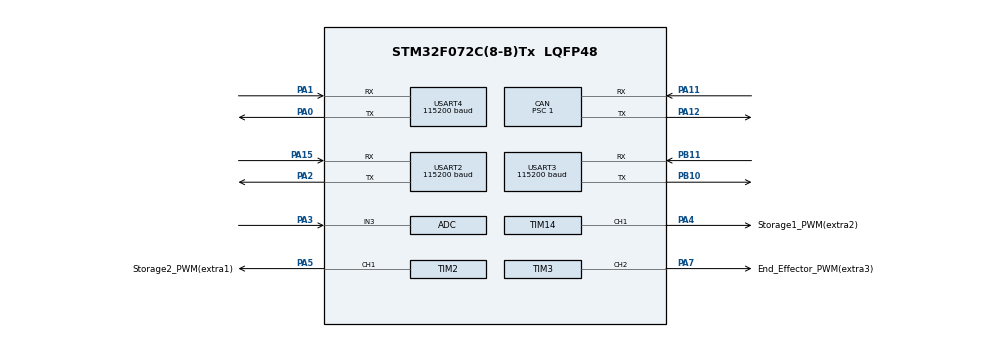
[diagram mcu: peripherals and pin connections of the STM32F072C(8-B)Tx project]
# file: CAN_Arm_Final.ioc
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CAN.BS1=CAN_BS1_13TQ
CAN.BS2=CAN_BS2_2TQ
CAN.CalculateBaudRate=500000
CAN.CalculateTimeBit=2000
CAN.CalculateTimeQuantum=125.0
CAN.Prescaler=1
Dma.Request0=USART3_TX
Dma.Request1=USART3_RX
Dma.Request2=USART2_RX
Dma.Request3=USART2_TX
Dma.Request4=USART4_RX
Dma.Request5=USART4_TX
Dma.USART2_RX.2.Direction=DMA_PERIPH_TO_MEMORY
Dma.USART2_RX.2.Instance=DMA1_Channel5
Dma.USART2_RX.2.MemDataAlignment=DMA_MDATAALIGN_BYTE
Dma.USART2_RX.2.MemInc=DMA_MINC_ENABLE
Dma.USART2_RX.2.Mode=DMA_NORMAL
Dma.USART2_RX.2.PeriphDataAlignment=DMA_PDATAALIGN_BYTE
Dma.USART2_RX.2.PeriphInc=DMA_PINC_DISABLE
Dma.USART2_RX.2.Priority=DMA_PRIORITY_LOW
Dma.USART2_TX.3.Direction=DMA_MEMORY_TO_PERIPH
Dma.USART2_TX.3.Instance=DMA1_Channel4
Dma.USART2_TX.3.MemDataAlignment=DMA_MDATAALIGN_BYTE
Dma.USART2_TX.3.MemInc=DMA_MINC_ENABLE
Dma.USART2_TX.3.Mode=DMA_NORMAL
Dma.USART2_TX.3.PeriphDataAlignment=DMA_PDATAALIGN_BYTE
Dma.USART2_TX.3.PeriphInc=DMA_PINC_DISABLE
Dma.USART2_TX.3.Priority=DMA_PRIORITY_LOW
Dma.USART3_RX.1.Direction=DMA_PERIPH_TO_MEMORY
Dma.USART3_RX.1.Instance=DMA1_Channel3
Dma.USART3_RX.1.MemDataAlignment=DMA_MDATAALIGN_BYTE
Dma.USART3_RX.1.MemInc=DMA_MINC_ENABLE
Dma.USART3_RX.1.Mode=DMA_NORMAL
Dma.USART3_RX.1.PeriphDataAlignment=DMA_PDATAALIGN_BYTE
Dma.USART3_RX.1.PeriphInc=DMA_PINC_DISABLE
Dma.USART3_RX.1.Priority=DMA_PRIORITY_LOW
Dma.USART3_TX.0.Direction=DMA_MEMORY_TO_PERIPH
Dma.USART3_TX.0.Instance=DMA1_Channel2
Dma.USART3_TX.0.MemDataAlignment=DMA_MDATAALIGN_BYTE
Dma.USART3_TX.0.MemInc=DMA_MINC_ENABLE
Dma.USART3_TX.0.Mode=DMA_NORMAL
Dma.USART3_TX.0.PeriphDataAlignment=DMA_PDATAALIGN_BYTE
Dma.USART3_TX.0.PeriphInc=DMA_PINC_DISABLE
Dma.USART3_TX.0.Priority=DMA_PRIORITY_LOW
Dma.USART4_RX.4.Direction=DMA_PERIPH_TO_MEMORY
Dma.USART4_RX.4.Instance=DMA1_Channel6
Dma.USART4_RX.4.MemDataAlignment=DMA_MDATAALIGN_BYTE
Dma.USART4_RX.4.MemInc=DMA_MINC_ENABLE
Dma.USART4_RX.4.Mode=DMA_NORMAL
Dma.USART4_RX.4.PeriphDataAlignment=DMA_PDATAALIGN_BYTE
Dma.USART4_RX.4.PeriphInc=DMA_PINC_DISABLE
Dma.USART4_RX.4.Priority=DMA_PRIORITY_LOW
Dma.USART4_TX.5.Direction=DMA_MEMORY_TO_PERIPH
Dma.USART4_TX.5.Instance=DMA1_Channel7
Dma.USART4_TX.5.MemDataAlignment=DMA_MDATAALIGN_BYTE
Dma.USART4_TX.5.MemInc=DMA_MINC_ENABLE
Dma.USART4_TX.5.Mode=DMA_NORMAL
Dma.USART4_TX.5.PeriphDataAlignment=DMA_PDATAALIGN_BYTE
Dma.USART4_TX.5.PeriphInc=DMA_PINC_DISABLE
Dma.USART4_TX.5.Priority=DMA_PRIORITY_LOW
Mcu.Family=STM32F0
Mcu.Name=STM32F072C(8-B)Tx
Mcu.Package=LQFP48
NVIC.CEC_CAN_IRQn=true\:0\:0\:false\:false\:true\:true\:true\:true
NVIC.DMA1_Channel2_3_IRQn=true\:0\:0\:false\:false\:true\:false\:true\:true
NVIC.DMA1_Channel4_5_6_7_IRQn=true\:0\:0\:false\:false\:true\:false\:true\:true
NVIC.USART2_IRQn=true\:0\:0\:false\:false\:true\:true\:true\:true
NVIC.USART3_4_IRQn=true\:0\:0\:false\:false\:true\:true\:true\:true
PA0.Mode=Asynchronous
PA0.Signal=USART4_TX
PA1.Mode=Asynchronous
PA1.Signal=USART4_RX
PA11.Mode=CAN_Activate
PA11.Signal=CAN_RX
PA12.Mode=CAN_Activate
PA12.Signal=CAN_TX
PA13.Mode=Serial_Wire
PA13.Signal=SYS_SWDIO
PA14.Mode=Serial_Wire
PA14.Signal=SYS_SWCLK
PA15.Mode=Asynchronous
PA15.Signal=USART2_RX
PA2.Mode=Asynchronous
PA2.Signal=USART2_TX
PA3.Mode=IN3
PA3.Signal=ADC_IN3
PA4.GPIO_Label=Storage1_PWM(extra2)
PA4.Signal=S_TIM14_CH1
PA5.GPIO_Label=Storage2_PWM(extra1)
PA5.Signal=S_TIM2_CH1_ETR
PA7.GPIO_Label=End_Effector_PWM(extra3)
PA7.Signal=S_TIM3_CH2
PB10.Mode=Asynchronous
PB10.Signal=USART3_TX
PB11.Mode=Asynchronous
PB11.Signal=USART3_RX
PF0-OSC_IN.Mode=HSE-External-Oscillator
PF0-OSC_IN.Signal=RCC_OSC_IN
PF1-OSC_OUT.Mode=HSE-External-Oscillator
PF1-OSC_OUT.Signal=RCC_OSC_OUT
ProjectManager.HeapSize=0x200
ProjectManager.StackSize=0x400
ProjectManager.TargetToolchain=STM32CubeIDE
SH.S_TIM14_CH1.0=TIM14_CH1,PWM Generation1 CH1
SH.S_TIM2_CH1_ETR.0=TIM2_CH1,PWM Generation1 CH1
SH.S_TIM3_CH2.0=TIM3_CH2,PWM Generation2 CH2
TIM14.Channel=TIM_CHANNEL_1
TIM14.Period=19999
TIM14.Prescaler=1
TIM2.Channel-PWM\ Generation1\ CH1=TIM_CHANNEL_1
TIM2.Period=19999
TIM2.Prescaler=1
TIM3.Channel-PWM\ Generation2\ CH2=TIM_CHANNEL_2
TIM3.Period=19999
TIM3.Prescaler=7
USART2.BaudRate=115200
USART2.VirtualMode-Asynchronous=VM_ASYNC
USART3.BaudRate=115200
USART3.VirtualMode-Asynchronous=VM_ASYNC
USART4.BaudRate=115200
USART4.VirtualMode-Asynchronous=VM_ASYNC
VP_TIM14_VS_ClockSourceINT.Mode=Enable_Timer
board=custom

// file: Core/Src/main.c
/* USER CODE BEGIN Header */
/**
 ******************************************************************************
 * @file           : main.c
 * @brief          : Main program body
 ******************************************************************************
 * @attention
 *
 * Copyright (c) 2025 STMicroelectronics.
 * All rights reserved.
 *
 * This software is licensed under terms that can be found in the LICENSE file
 * in the root directory of this software component.
 * If no LICENSE file comes with this software, it is provided AS-IS.
 *
 ******************************************************************************
 */
/* USER CODE END Header */
#include "main.h"

/* USER CODE BEGIN Includes */
#include "../../roboclaw/roboclaw.h"
//#include "../../pH/pH.h"
#include "string.h"
#include <stdbool.h>
#include <stdio.h>
#include <stdlib.h>
#include <math.h>
/* USER CODE END Includes */

/* USER CODE BEGIN PTD */
volatile uint8_t messageReceived = 0;
CAN_RxHeaderTypeDef rxHeader;
uint8_t rxData[8]={0};
uint32_t lastSendTime = 0;
SERIAL_HandleTypeDef *hserial_uart1;
SERIAL_HandleTypeDef *hserial_uart2;
SERIAL_HandleTypeDef *hserial_uart3;
RoboClaw_HandleTypeDef hroboclaw_mc1;
RoboClaw_HandleTypeDef hroboclaw_mc2;
RoboClaw_HandleTypeDef hroboclaw_mc3;
/* USER CODE END PTD */

/* USER CODE BEGIN PD */
//#define gear_ratio 188 // change value
//#define pulses_per_revolution_gearbox 28 // change value
//#define reduction_ratio 188 // change value
//#define pi 3.14159265358979
#define end_eff_PWM   TIM_CHANNEL_2 //Extra 3
#define end_eff_Tim   &htim3

#define Storage1_PWM  TIM_CHANNEL_1 //Extra 1
#define Storage1_Tim  &htim14

#define Storage2_PWM  TIM_CHANNEL_1 //Extra 2
#define Storage2_Tim  &htim2

#define STORAGE_OPEN_ANGLE 	90 // adjust with Alaa
#define STORAGE_CLOSED_ANGLE 0

#define angles_id 				0x004
#define CAN_ID_ENCODER_FEEDBACK 0x222

#define M1 1	// will be used later in GoToAngle() function
#define M2 2

#define JOINT2 1
#define JOINT5 2
#define NORMAL 3
// Each motor's timer + channel
typedef struct {
	TIM_HandleTypeDef *htim;
	uint32_t channel;
} MotorConfig;

/* USER CODE END PD */

ADC_HandleTypeDef hadc;

CAN_HandleTypeDef hcan;

TIM_HandleTypeDef htim2;
TIM_HandleTypeDef htim3;
TIM_HandleTypeDef htim14;

UART_HandleTypeDef huart2;
UART_HandleTypeDef huart3;
UART_HandleTypeDef huart4;
DMA_HandleTypeDef hdma_usart2_rx;
DMA_HandleTypeDef hdma_usart2_tx;
DMA_HandleTypeDef hdma_usart3_tx;
DMA_HandleTypeDef hdma_usart3_rx;
DMA_HandleTypeDef hdma_usart4_rx;
DMA_HandleTypeDef hdma_usart4_tx;

/* USER CODE BEGIN PV */

/********** Values for SpeedAccelDeccelPositionM() function ************/
/* you can modify accel deccel and speed as you want to reach the most suitable values
 * check with علاء if the speed of the motor while rotating is cool or not either slowing it down or make it faster
 */
uint32_t accel = 1000;
uint32_t speed = 2000;
uint32_t deccel = 1000;
uint8_t flag = 0;
int anglee[1] = {0};

/************************************************************************/

const int32_t GoBilda_PPR = 5290; //PPR
const int32_t JOINT5_PPR = 7160; //PPR adjust for joint 5
const int32_t GEAR_RATIO = 4;
const int32_t max_angle = 210; // adjust with mechanical team
int32_t JOINT1_PPR = (GoBilda_PPR * GEAR_RATIO)*(max_angle/360); // map from 0 to 210 //ppr = 12931

/************************************************************************/
int32_t encoderM1; //global variable stores encoder ticks while debugging
int32_t encoderM2; //global variable stores encoder ticks while debugging
/************************************************************************/
uint8_t uart_enc_data[8] = { 0 };
uint64_t packed = 0; 	// a variable to store the 64 bit received by CAN
uint16_t joint[6] = { 0 }; // contains 6 angles received in each 10 bits from 0 to 1023
float angle_deg[6] = { 0 };	// contains actual angles in degrees after mapping to 0 to 360 degree
uint8_t storage1 = 0, storage2 = 0; //for servo 1 and servo 2

MotorConfig servos[3] = { { end_eff_Tim, end_eff_PWM }, { Storage1_Tim,
Storage1_PWM }, { Storage2_Tim, Storage2_PWM } };

volatile bool g_limitSwitchPressed = false; // A global flag to disable the interrupt after triggered first time

/* USER CODE END PV */

void SystemClock_Config(void);
static void MX_GPIO_Init(void);
static void MX_DMA_Init(void);
static void MX_CAN_Init(void);
static void MX_USART2_UART_Init(void);
static void MX_USART3_UART_Init(void);
static void MX_TIM3_Init(void);
static void MX_TIM2_Init(void);
static void MX_TIM14_Init(void);
static void MX_ADC_Init(void);
static void MX_USART4_UART_Init(void);
/* USER CODE BEGIN PFP */
void can_irq(CAN_HandleTypeDef *pcan);

HAL_StatusTypeDef can_send(uint32_t id, uint8_t data[], uint8_t length);

void GoToAngle(float angle, RoboClaw_HandleTypeDef *hroboClaw, uint8_t MOTOR,
		uint8_t MODE);

void processArmControlData(uint8_t *data); //main control function

void setServoAngle(TIM_HandleTypeDef *htim, uint32_t channel, uint16_t angle);

uint16_t angleToPulseValue(uint16_t angle);

void SendEncoderFeedback(uint8_t *data); //TO DO

/* USER CODE END PFP */

/* USER CODE BEGIN 0 */
void can_irq(CAN_HandleTypeDef *pcan) {
	/* Simply receive whatever message comes in */
	if (HAL_CAN_GetRxMessage(pcan, CAN_RX_FIFO0, &rxHeader, rxData) == HAL_OK) {
		messageReceived = 1;
		// Check if the message is for Arm Control
//		if (rxHeader.StdId == angles_id) {
//			messageReceived = 1;
//		}
	}
}

HAL_StatusTypeDef can_send(uint32_t id, uint8_t data[], uint8_t length) {
	CAN_TxHeaderTypeDef txHeader;
	uint32_t mailbox;

	/* Configure TX header */
	txHeader.StdId = id;
	txHeader.IDE = CAN_ID_STD;
	txHeader.RTR = CAN_RTR_DATA;
	txHeader.DLC = length;
	txHeader.TransmitGlobalTime = DISABLE;

	/* Check if mailbox is available and send */
	if (HAL_CAN_GetTxMailboxesFreeLevel(&hcan) > 0) {
		return HAL_CAN_AddTxMessage(&hcan, &txHeader, data, &mailbox);
	}
	return HAL_BUSY;
}

void GoToAngle(float angle, RoboClaw_HandleTypeDef *hroboClaw, uint8_t MOTOR,
		uint8_t MODE) {
	uint8_t status;
	bool valid;
	int64_t no_of_ticks = 0;
	// different PPR case motors -> joint 2 and joint 5
	switch(MODE){

	case JOINT2 :
		no_of_ticks = (angle / 360) * JOINT1_PPR; //map the angle (0->360) to ticks (0->7000)

	break;
	case JOINT5:
		no_of_ticks = (angle / 360) * JOINT5_PPR; //map the angle (0->360) to ticks (0->7000)

	break;
	case NORMAL:
		no_of_ticks = (angle / 360) * GoBilda_PPR; //map the angle (0->360) to ticks (0->5290)

	break;
}

	switch (MOTOR) {
	case M1:
		encoderM1 = ReadEncM1(hroboClaw, &status, &valid);
		SpeedAccelDeccelPositionM1(hroboClaw, accel, speed, deccel, no_of_ticks,
				flag);
		break;
	case M2:
		encoderM2 = ReadEncM2(hroboClaw, &status, &valid);
		SpeedAccelDeccelPositionM2(hroboClaw, accel, speed, deccel, no_of_ticks,
				flag);
		break;
	}
	return;

}

void processArmControlData(uint8_t *data) {

	packed = 0;
	// Combine all 8 bytes into a 64-bit integer
	for (int i = 0; i < 8; i++) {
		packed |= ((uint64_t) data[i]) << (8 * i);
	}

	// Extract each 10-bit joint value
	for (int j = 0; j < 6; j++) {
		joint[j] = (packed >> (j * 10)) & 0x3FF; // 0x3FF = 10-bit mask
		// Now you have joint[0]..joint[5] as raw values (0–1023) << ركززز محتاجين نحولها لزاوية
		angle_deg[j] = ((float) joint[j] / 1023.0f) * 360.0f; // map to 0–360°
	}
	storage1 = (packed >> 61) & 0x1; //if 0 closed if 1 open
	storage2 = (packed >> 62) & 0x1; //same

	// ---- Control DC Motors ----
	// joints[0] & [1] -> RoboClaw1 //Arm base
	GoToAngle(angle_deg[0], &hroboclaw_mc3, M1,NORMAL); // adjust each motor with each joint // joint1
	GoToAngle(angle_deg[1], &hroboclaw_mc3, M2,JOINT2); // joint 2

	// joints[2] & [3] -> RoboClaw2 //Arm Middle
	GoToAngle(angle_deg[2], &hroboclaw_mc2, M1,NORMAL); // joint 3
	GoToAngle(angle_deg[3], &hroboclaw_mc2, M2,NORMAL); // joint 4

	// joint[4] -> RoboClaw3	//Arm end + end effector
	GoToAngle(angle_deg[4], &hroboclaw_mc1, M1,JOINT5); // joint 5
	setServoAngle(end_eff_Tim, end_eff_PWM, angle_deg[5]); // end effector move
	// ----------------------------

	/*
	 * storage control
	 */
	// ---- Control Storage Servos ----
	/* commented عشان السيرفو متكسرش الغطيان
	if (storage1 == 1) {
		setServoAngle(Storage1_Tim, Storage1_PWM, STORAGE_OPEN_ANGLE);
	} else {
		setServoAngle(Storage2_Tim, Storage1_PWM, STORAGE_CLOSED_ANGLE);
	}

	if (storage2 == 1) {
		setServoAngle(Storage1_Tim, Storage2_PWM, STORAGE_OPEN_ANGLE);
	} else {
		setServoAngle(Storage2_Tim, Storage2_PWM, STORAGE_CLOSED_ANGLE);
	}
	*/

	return;
}

///////////////////ADHAM func xxxxx Chatgpt func vvvv  ظبطها ياعم أدهم مجربتش السيرفو قبل كدة
/**
 * @brief Maps a desired angle (0–360) to the corresponding PWM pulse count.
 * Works with TIM3 configured: Prescaler=0, Period=65535.
 * Assumes APB1 timer clock = 48 MHz → tick = 20.8 ns.
 * For standard hobby servos (50 Hz):
 * - 0° → 1 ms pulse
 * - 180° → 2 ms pulse
 * Extended here to allow mapping up to 360°
 */

uint16_t angleToPulseValue(uint16_t angle) {
	// Clamp to 0–360
	if (angle < 0)
		angle = 0;
	if (angle > 360)
		angle = 360;

	// Servo pulse range: 1 ms (min) to 2 ms (max)
	const uint16_t MIN_PULSE = 1000;  // 1 ms → 1000 ticks
	const uint16_t MAX_PULSE = 2000;  // 2 ms → 2000 ticks
	const uint16_t RANGE = MAX_PULSE - MIN_PULSE;

	// Map 0–360° → 1–2 ms range
	// Convert to timer counts
	uint16_t pulse = MIN_PULSE + ((uint32_t) angle * RANGE) / 360;

	return pulse;
}
/**
 * @brief  Sets the servo to a specific angle by updating the PWM compare register.
 * @param  htim A pointer to the TIM_HandleTypeDef structure for your timer.
 * @param  channel The timer channel used for the servo (e.g., TIM_CHANNEL_2).
 * @param  angle The desired servo angle in degrees (0 to 180).
 */
void setServoAngle(TIM_HandleTypeDef *htim, uint32_t channel, uint16_t angle) {
	uint16_t pulse = angleToPulseValue(angle);

	// Update the Capture Compare Register (CCR) for the specified channel.
	__HAL_TIM_SET_COMPARE(htim, channel, pulse);
}

//NOT TESTED !!!!!!!!!!!!!!!!!!!!!!!!!!!!!!!!<========== VERY IMPORTANT
void SendEncoderFeedback(uint8_t *buffer) {
	uint8_t status1a, status1b;
	bool valid1a, valid1b;

	// --- Angle 0 Processing ---
	int32_t enc0 = ReadEncM1(&hroboclaw_mc2, &status1a, &valid1a);
	// Calculate angle as a float first for precision
	float actual_angle0_f = ((float) enc0 / GoBilda_PPR) * 360.0f;
	// Normalize angle to be within 0-360 range
	actual_angle0_f = fmod(actual_angle0_f, 360.0f);
	if (actual_angle0_f < 0) {
		actual_angle0_f += 360.0f;
	}
	// Map the float angle to a 10-bit integer (0-1023)
	uint16_t ten_bit_angle0 = (uint16_t) roundf(
			(actual_angle0_f / 360.0f) * 1023.0f);

	// --- Angle 1 Processing ---
	int32_t enc1 = ReadEncM2(&hroboclaw_mc2, &status1b, &valid1b);
	float actual_angle1_f = ((float) enc1 / GoBilda_PPR) * 360.0f;
	// Normalize angle
	actual_angle1_f = fmod(actual_angle1_f, 360.0f);
	if (actual_angle1_f < 0) {
		actual_angle1_f += 360.0f;
	}
	// Map the float angle to a 10-bit integer (0-1023)
	uint16_t ten_bit_angle1 = (uint16_t) roundf(
			(actual_angle1_f / 360.0f) * 1023.0f);

	// --- Packing ---
	// Combine the two 10-bit values into one 20-bit number.
	uint32_t combined_angles = (ten_bit_angle1 << 10) | ten_bit_angle0;

	// Place the 3 bytes into your buffer to be sent via UART
	buffer[0] = combined_angles & 0xFF;       // Byte 0: Lower 8 bits of angle 0
	buffer[1] = (combined_angles >> 8) & 0xFF; // Byte 1: Upper 2 bits of angle 0 & lower 6 of angle 1
	buffer[2] = (combined_angles >> 16) & 0xFF; // Byte 2: Upper 4 bits of angle 1

	// buffer[3] through buffer[7] are available for other data
	// For example, you could pack another two angles into buffer[3], buffer[4], and buffer[5].
}
/* USER CODE END 0 */

int main(void) {

	/* USER CODE BEGIN 1 */
//		uint8_t txData[] = "FuckCAN"; // Example data to send
//		uint32_t lastSendTime = 0;
	/* USER CODE END 1 */

	/* MCU Configuration--------------------------------------------------------*/

	/* Reset of all peripherals, Initializes the Flash interface and the Systick. */
	HAL_Init();

	/* Configure the system clock */
	SystemClock_Config();

	/* Initialize all configured peripherals */
	MX_GPIO_Init();
	MX_DMA_Init();
	MX_CAN_Init();
	MX_USART2_UART_Init();
	MX_USART3_UART_Init();
	MX_TIM3_Init();
	MX_TIM2_Init();
	MX_TIM14_Init();
	MX_ADC_Init();
	MX_USART4_UART_Init();
	/* USER CODE BEGIN 2 */

	////MOTOR 5 -> ROBOCLAW 1
	hserial_uart1 = serial_init(&huart4);
	hroboclaw_mc1.hserial = hserial_uart1;
	hroboclaw_mc1.packetserial_address = 0x80;

	////MOTOR 3&4 -> ROBOCLAW 2
	hserial_uart2 = serial_init(&huart2);
	hroboclaw_mc2.hserial = hserial_uart2;
	hroboclaw_mc2.packetserial_address = 0x82;

	////MOTOR 1&2 -> ROBOCLAW 3
//	hserial_uart3 = serial_init(&huart3);
//	hroboclaw_mc3.hserial = hserial_uart3;
//	hroboclaw_mc3.packetserial_address = 0x84;

	//Homing position
//	SpeedM1(&hroboclaw_mc2, 3000);	//Start
	//Motor rotates continuously until it hits the limit switch and triggers the interrupt

	// Start all PWM channels
	for (int i = 0; i < 3; i++) {
		HAL_TIM_PWM_Start(servos[i].htim, servos[i].channel);
	}
//
//	// Set initial position to center (90 degrees)
//	setServoAngle(&htim2, TIM_CHANNEL_3, 90);
//	HAL_Delay(1000); // Give servo time to reach initial position

	/* USER CODE END 2 */

	/* Infinite loop */
	/* USER CODE BEGIN WHILE */
	while (1) {
		/******* Test code ********/
//		if(HAL_UART_Receive(&huart3, &anglee, sizeof(anglee) , HAL_MAX_DELAY ) == HAL_OK) {
			//HAL_GPIO_TogglePin(GPIOB, GPIO_PIN_15);
			uint8_t status;
			bool valid;
			ResetEncoders(&hroboclaw_mc2);
			GoToAngle(180, &hroboclaw_mc2,M2,NORMAL);
	//		HAL_Delay(1000);
			GoToAngle(90, &hroboclaw_mc2,M2,NORMAL);
	//		HAL_Delay(1000);
			encoderM1 = ReadEncM2(&hroboclaw_mc2, &status, &valid);
			HAL_Delay(1000);

//		 }
		/* USER CODE END WHILE */

		/* USER CODE BEGIN 3 */
		// CAN message from High level
//		if (messageReceived) {
//			messageReceived = 0;		// Clear flag
//			HAL_GPIO_TogglePin(GPIOB, GPIO_PIN_15);
//			processArmControlData(rxData);//this function decodes the CAN message into actual angles
//
//		}
//		SendEncoderFeedback(uart_enc_data);
////			HAL_UART_Transmit_DMA(&huart2, uart_enc_data, sizeof(uart_enc_data));
//		/* Send message every 1000ms */
//		//redefine the txData to send encoder values
//		if (HAL_GetTick() - lastSendTime > 1000) {
//			if (can_send(CAN_ID_ENCODER_FEEDBACK, uart_enc_data,
//					sizeof(uart_enc_data)) == HAL_OK) {
//			}
//			lastSendTime = HAL_GetTick();
//		}
//		HAL_Delay(500);
	}

	/* USER CODE END 3 */
}

void SystemClock_Config(void) {
	RCC_OscInitTypeDef RCC_OscInitStruct = { 0 };
	RCC_ClkInitTypeDef RCC_ClkInitStruct = { 0 };
	RCC_PeriphCLKInitTypeDef PeriphClkInit = { 0 };

	/** Initializes the RCC Oscillators according to the specified parameters
	 * in the RCC_OscInitTypeDef structure.
	 */
	RCC_OscInitStruct.OscillatorType = RCC_OSCILLATORTYPE_HSI
			| RCC_OSCILLATORTYPE_HSI14;
	RCC_OscInitStruct.HSIState = RCC_HSI_ON;
	RCC_OscInitStruct.HSI14State = RCC_HSI14_ON;
	RCC_OscInitStruct.HSICalibrationValue = RCC_HSICALIBRATION_DEFAULT;
	RCC_OscInitStruct.HSI14CalibrationValue = 16;
	RCC_OscInitStruct.PLL.PLLState = RCC_PLL_NONE;
	if (HAL_RCC_OscConfig(&RCC_OscInitStruct) != HAL_OK) {
		Error_Handler();
	}

	/** Initializes the CPU, AHB and APB buses clocks
	 */
	RCC_ClkInitStruct.ClockType = RCC_CLOCKTYPE_HCLK | RCC_CLOCKTYPE_SYSCLK
			| RCC_CLOCKTYPE_PCLK1;
	RCC_ClkInitStruct.SYSCLKSource = RCC_SYSCLKSOURCE_HSI;
	RCC_ClkInitStruct.AHBCLKDivider = RCC_SYSCLK_DIV1;
	RCC_ClkInitStruct.APB1CLKDivider = RCC_HCLK_DIV1;

	if (HAL_RCC_ClockConfig(&RCC_ClkInitStruct, FLASH_LATENCY_0) != HAL_OK) {
		Error_Handler();
	}
	PeriphClkInit.PeriphClockSelection = RCC_PERIPHCLK_USART2;
	PeriphClkInit.Usart2ClockSelection = RCC_USART2CLKSOURCE_PCLK1;
	if (HAL_RCCEx_PeriphCLKConfig(&PeriphClkInit) != HAL_OK) {
		Error_Handler();
	}
}

static void MX_ADC_Init(void) {

	ADC_ChannelConfTypeDef sConfig = { 0 };

	/** Configure the global features of the ADC (Clock, Resolution, Data Alignment and number of conversion)
	 */
	hadc.Instance = ADC1;
	hadc.Init.ClockPrescaler = ADC_CLOCK_ASYNC_DIV1;
	hadc.Init.Resolution = ADC_RESOLUTION_12B;
	hadc.Init.DataAlign = ADC_DATAALIGN_RIGHT;
	hadc.Init.ScanConvMode = ADC_SCAN_DIRECTION_FORWARD;
	hadc.Init.EOCSelection = ADC_EOC_SINGLE_CONV;
	hadc.Init.LowPowerAutoWait = DISABLE;
	hadc.Init.LowPowerAutoPowerOff = DISABLE;
	hadc.Init.ContinuousConvMode = DISABLE;
	hadc.Init.DiscontinuousConvMode = DISABLE;
	hadc.Init.ExternalTrigConv = ADC_SOFTWARE_START;
	hadc.Init.ExternalTrigConvEdge = ADC_EXTERNALTRIGCONVEDGE_NONE;
	hadc.Init.DMAContinuousRequests = DISABLE;
	hadc.Init.Overrun = ADC_OVR_DATA_PRESERVED;
	if (HAL_ADC_Init(&hadc) != HAL_OK) {
		Error_Handler();
	}

	/** Configure for the selected ADC regular channel to be converted.
	 */
	sConfig.Channel = ADC_CHANNEL_3;
	sConfig.Rank = ADC_RANK_CHANNEL_NUMBER;
	sConfig.SamplingTime = ADC_SAMPLETIME_1CYCLE_5;
	if (HAL_ADC_ConfigChannel(&hadc, &sConfig) != HAL_OK) {
		Error_Handler();
	}

}

static void MX_CAN_Init(void) {

	hcan.Instance = CAN;
	hcan.Init.Prescaler = 1;
	hcan.Init.Mode = CAN_MODE_NORMAL;
	hcan.Init.SyncJumpWidth = CAN_SJW_1TQ;
	hcan.Init.TimeSeg1 = CAN_BS1_13TQ;
	hcan.Init.TimeSeg2 = CAN_BS2_2TQ;
	hcan.Init.TimeTriggeredMode = DISABLE;
	hcan.Init.AutoBusOff = DISABLE;
	hcan.Init.AutoWakeUp = DISABLE;
	hcan.Init.AutoRetransmission = DISABLE;
	hcan.Init.ReceiveFifoLocked = DISABLE;
	hcan.Init.TransmitFifoPriority = DISABLE;
	if (HAL_CAN_Init(&hcan) != HAL_OK) {
		Error_Handler();
	}
	/* USER CODE BEGIN CAN_Init 2 */
	CAN_FilterTypeDef sf;
	  // Set the filter to only accept messages with ID 0x6A5
	  sf.FilterIdHigh = 0x004 << 5; // Left-shift to align with the 11-bit identifier field
	  sf.FilterIdLow = 0x0000;
	  // A mask of 0xFFE0 will check all 11 bits of the standard ID
	  sf.FilterMaskIdHigh = 0xFFE0;
	  sf.FilterMaskIdLow = 0x0000;

	sf.FilterFIFOAssignment = CAN_FILTER_FIFO0;
	sf.FilterBank = 0;
	sf.FilterMode = CAN_FILTERMODE_IDMASK;
	sf.FilterScale = CAN_FILTERSCALE_32BIT;
	sf.FilterActivation = CAN_FILTER_ENABLE;
	if (HAL_CAN_ConfigFilter(&hcan, &sf) != HAL_OK) {
		Error_Handler();
	}

	if (HAL_CAN_RegisterCallback(&hcan, HAL_CAN_RX_FIFO0_MSG_PENDING_CB_ID,
			can_irq) != HAL_OK) {
		Error_Handler();
	}

	if (HAL_CAN_Start(&hcan) != HAL_OK) {
		Error_Handler();
	}

	if (HAL_CAN_ActivateNotification(&hcan, CAN_IT_RX_FIFO0_MSG_PENDING)
			!= HAL_OK) {
		Error_Handler();
	}

	/* Enable interrupts for CAN: FIFO0 message pending, transmit mailbox empty, error */
	__HAL_CAN_ENABLE_IT(&hcan, CAN_IT_RX_FIFO0_MSG_PENDING | // RX FIFO0 message
			CAN_IT_TX_MAILBOX_EMPTY |// Transmit mailbox empty
			CAN_IT_ERROR_WARNING |// Error warning
			CAN_IT_ERROR_PASSIVE |// Error passive
			CAN_IT_BUSOFF |// Bus-off
			CAN_IT_LAST_ERROR_CODE |// Last error code
			CAN_IT_ERROR);// General error

	/* Configure NVIC for CAN interrupts */
	HAL_NVIC_SetPriority(CEC_CAN_IRQn, 0, 0);
	HAL_NVIC_EnableIRQ(CEC_CAN_IRQn);
	/* USER CODE END CAN_Init 2 */

}

static void MX_TIM2_Init(void) {

	TIM_MasterConfigTypeDef sMasterConfig = { 0 };
	TIM_OC_InitTypeDef sConfigOC = { 0 };

	htim2.Instance = TIM2;
	htim2.Init.Prescaler = 1;
	htim2.Init.CounterMode = TIM_COUNTERMODE_UP;
	htim2.Init.Period = 19999;
	htim2.Init.ClockDivision = TIM_CLOCKDIVISION_DIV1;
	htim2.Init.AutoReloadPreload = TIM_AUTORELOAD_PRELOAD_DISABLE;
	if (HAL_TIM_PWM_Init(&htim2) != HAL_OK) {
		Error_Handler();
	}
	sMasterConfig.MasterOutputTrigger = TIM_TRGO_RESET;
	sMasterConfig.MasterSlaveMode = TIM_MASTERSLAVEMODE_DISABLE;
	if (HAL_TIMEx_MasterConfigSynchronization(&htim2, &sMasterConfig)
			!= HAL_OK) {
		Error_Handler();
	}
	sConfigOC.OCMode = TIM_OCMODE_PWM1;
	sConfigOC.Pulse = 0;
	sConfigOC.OCPolarity = TIM_OCPOLARITY_HIGH;
	sConfigOC.OCFastMode = TIM_OCFAST_DISABLE;
	if (HAL_TIM_PWM_ConfigChannel(&htim2, &sConfigOC, TIM_CHANNEL_1)
			!= HAL_OK) {
		Error_Handler();
	}
	HAL_TIM_MspPostInit(&htim2);

}

static void MX_TIM3_Init(void) {

	TIM_MasterConfigTypeDef sMasterConfig = { 0 };
	TIM_OC_InitTypeDef sConfigOC = { 0 };

	htim3.Instance = TIM3;
	htim3.Init.Prescaler = 7;
	htim3.Init.CounterMode = TIM_COUNTERMODE_UP;
	htim3.Init.Period = 19999;
	htim3.Init.ClockDivision = TIM_CLOCKDIVISION_DIV1;
	htim3.Init.AutoReloadPreload = TIM_AUTORELOAD_PRELOAD_DISABLE;
	if (HAL_TIM_PWM_Init(&htim3) != HAL_OK) {
		Error_Handler();
	}
	sMasterConfig.MasterOutputTrigger = TIM_TRGO_RESET;
	sMasterConfig.MasterSlaveMode = TIM_MASTERSLAVEMODE_DISABLE;
	if (HAL_TIMEx_MasterConfigSynchronization(&htim3, &sMasterConfig)
			!= HAL_OK) {
		Error_Handler();
	}
	sConfigOC.OCMode = TIM_OCMODE_PWM1;
	sConfigOC.Pulse = 0;
	sConfigOC.OCPolarity = TIM_OCPOLARITY_HIGH;
	sConfigOC.OCFastMode = TIM_OCFAST_DISABLE;
	if (HAL_TIM_PWM_ConfigChannel(&htim3, &sConfigOC, TIM_CHANNEL_2)
			!= HAL_OK) {
		Error_Handler();
	}
	HAL_TIM_MspPostInit(&htim3);

}

static void MX_TIM14_Init(void) {

	TIM_OC_InitTypeDef sConfigOC = { 0 };

	htim14.Instance = TIM14;
	htim14.Init.Prescaler = 1;
	htim14.Init.CounterMode = TIM_COUNTERMODE_UP;
	htim14.Init.Period = 19999;
	htim14.Init.ClockDivision = TIM_CLOCKDIVISION_DIV1;
	htim14.Init.AutoReloadPreload = TIM_AUTORELOAD_PRELOAD_DISABLE;
	if (HAL_TIM_Base_Init(&htim14) != HAL_OK) {
		Error_Handler();
	}
	if (HAL_TIM_PWM_Init(&htim14) != HAL_OK) {
		Error_Handler();
	}
	sConfigOC.OCMode = TIM_OCMODE_PWM1;
	sConfigOC.Pulse = 0;
	sConfigOC.OCPolarity = TIM_OCPOLARITY_HIGH;
	sConfigOC.OCFastMode = TIM_OCFAST_DISABLE;
	if (HAL_TIM_PWM_ConfigChannel(&htim14, &sConfigOC, TIM_CHANNEL_1)
			!= HAL_OK) {
		Error_Handler();
	}
	HAL_TIM_MspPostInit(&htim14);

}

static void MX_USART2_UART_Init(void) {

	huart2.Instance = USART2;
	huart2.Init.BaudRate = 115200;
	huart2.Init.WordLength = UART_WORDLENGTH_8B;
	huart2.Init.StopBits = UART_STOPBITS_1;
	huart2.Init.Parity = UART_PARITY_NONE;
	huart2.Init.Mode = UART_MODE_TX_RX;
	huart2.Init.HwFlowCtl = UART_HWCONTROL_NONE;
	huart2.Init.OverSampling = UART_OVERSAMPLING_16;
	huart2.Init.OneBitSampling = UART_ONE_BIT_SAMPLE_DISABLE;
	huart2.AdvancedInit.AdvFeatureInit = UART_ADVFEATURE_NO_INIT;
	if (HAL_UART_Init(&huart2) != HAL_OK) {
		Error_Handler();
	}

}

static void MX_USART3_UART_Init(void) {

	huart3.Instance = USART3;
	huart3.Init.BaudRate = 115200;
	huart3.Init.WordLength = UART_WORDLENGTH_8B;
	huart3.Init.StopBits = UART_STOPBITS_1;
	huart3.Init.Parity = UART_PARITY_NONE;
	huart3.Init.Mode = UART_MODE_TX_RX;
	huart3.Init.HwFlowCtl = UART_HWCONTROL_NONE;
	huart3.Init.OverSampling = UART_OVERSAMPLING_16;
	huart3.Init.OneBitSampling = UART_ONE_BIT_SAMPLE_DISABLE;
	huart3.AdvancedInit.AdvFeatureInit = UART_ADVFEATURE_NO_INIT;
	if (HAL_UART_Init(&huart3) != HAL_OK) {
		Error_Handler();
	}

}

static void MX_USART4_UART_Init(void) {

	huart4.Instance = USART4;
	huart4.Init.BaudRate = 115200;
	huart4.Init.WordLength = UART_WORDLENGTH_8B;
	huart4.Init.StopBits = UART_STOPBITS_1;
	huart4.Init.Parity = UART_PARITY_NONE;
	huart4.Init.Mode = UART_MODE_TX_RX;
	huart4.Init.HwFlowCtl = UART_HWCONTROL_NONE;
	huart4.Init.OverSampling = UART_OVERSAMPLING_16;
	huart4.Init.OneBitSampling = UART_ONE_BIT_SAMPLE_DISABLE;
	huart4.AdvancedInit.AdvFeatureInit = UART_ADVFEATURE_NO_INIT;
	if (HAL_UART_Init(&huart4) != HAL_OK) {
		Error_Handler();
	}

}

static void MX_DMA_Init(void) {

	/* DMA controller clock enable */
	__HAL_RCC_DMA1_CLK_ENABLE();

	/* DMA interrupt init */
	/* DMA1_Channel2_3_IRQn interrupt configuration */
	HAL_NVIC_SetPriority(DMA1_Channel2_3_IRQn, 0, 0);
	HAL_NVIC_EnableIRQ(DMA1_Channel2_3_IRQn);
	/* DMA1_Channel4_5_6_7_IRQn interrupt configuration */
	HAL_NVIC_SetPriority(DMA1_Channel4_5_6_7_IRQn, 0, 0);
	HAL_NVIC_EnableIRQ(DMA1_Channel4_5_6_7_IRQn);

}

static void MX_GPIO_Init(void) {

	/* GPIO Ports Clock Enable */
	__HAL_RCC_GPIOF_CLK_ENABLE();
	__HAL_RCC_GPIOA_CLK_ENABLE();
	__HAL_RCC_GPIOB_CLK_ENABLE();

}

/* USER CODE BEGIN 4 */

void HAL_GPIO_EXTI_Callback(uint16_t GPIO_Pin) {
	if (GPIO_Pin == GPIO_PIN_5) {
		// The limit switch interrupt was triggered!
		// Set a flag. Keep the ISR (Interrupt Service Routine) short and fast.
		g_limitSwitchPressed = true;
	}
}

void HomingSequence_IT(RoboClaw_HandleTypeDef *hroboClaw) {
	uint8_t status;
	bool valid;
	// Reset the flag and start moving towards the switch
	g_limitSwitchPressed = false;
//    ForwardM1(hroboClaw, 20); // Adjust direction/speed as needed
	HAL_GPIO_TogglePin(GPIOB, GPIO_PIN_15);

	// Wait for the flag to be set by the interrupt
	while (!g_limitSwitchPressed) {
		HAL_Delay(5);
	}

	// --- Switch has been triggered! ---
	ForwardM1(hroboClaw, 0); // Stop motor
	HAL_Delay(50);
	ResetEncoders(hroboClaw);
	HAL_Delay(50);

	// Optionally move off the switch
//	GoToAngle(2, hroboClaw);
//	HAL_Delay(500);
	encoderM1 = ReadEncM1(hroboClaw, &status, &valid);

}
/* USER CODE END 4 */

void Error_Handler(void) {
	__disable_irq();
	while (1) {
	}
}
